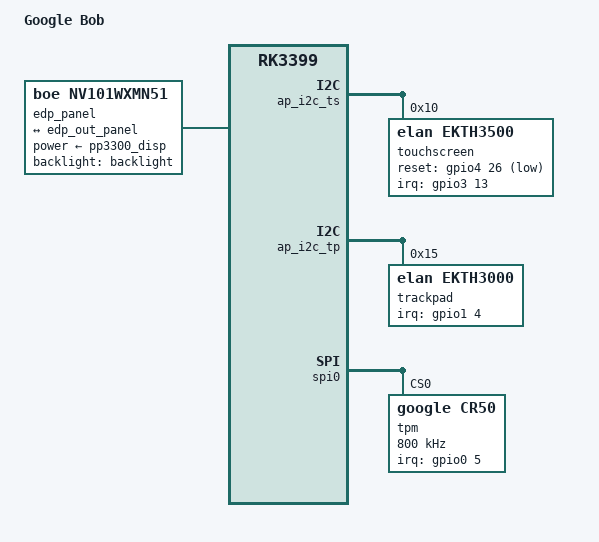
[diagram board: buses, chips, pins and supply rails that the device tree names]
// SPDX-License-Identifier: (GPL-2.0+ OR MIT)
/*
 * Google Gru-Bob Rev 4+ board device tree source
 *
 * Copyright 2018 Google, Inc
 */

/dts-v1/;
#include "rk3399-gru-chromebook.dtsi"

/ {
	model = "Google Bob";
	compatible = "google,bob-rev13", "google,bob-rev12",
		     "google,bob-rev11", "google,bob-rev10",
		     "google,bob-rev9", "google,bob-rev8",
		     "google,bob-rev7", "google,bob-rev6",
		     "google,bob-rev5", "google,bob-rev4",
		     "google,bob", "google,gru", "rockchip,rk3399";
	chassis-type = "convertible";

	edp_panel: edp-panel {
		compatible = "boe,nv101wxmn51";
		backlight = <&backlight>;
		power-supply = <&pp3300_disp>;

		port {
			panel_in_edp: endpoint {
				remote-endpoint = <&edp_out_panel>;
			};
		};
	};
};

&ap_i2c_ts {
	touchscreen: touchscreen@10 {
		compatible = "elan,ekth3500";
		reg = <0x10>;
		interrupt-parent = <&gpio3>;
		interrupts = <13 IRQ_TYPE_LEVEL_LOW>;
		pinctrl-names = "default";
		pinctrl-0 = <&touch_int_l &touch_reset_l>;
		reset-gpios = <&gpio4 26 GPIO_ACTIVE_LOW>;
	};
};

&ap_i2c_tp {
	trackpad: trackpad@15 {
		compatible = "elan,ekth3000";
		reg = <0x15>;
		interrupt-parent = <&gpio1>;
		interrupts = <4 IRQ_TYPE_LEVEL_LOW>;
		pinctrl-names = "default";
		pinctrl-0 = <&trackpad_int_l>;
		wakeup-source;
	};
};

&backlight {
	pwms = <&cros_ec_pwm 0>;
};

&cpu_alert0 {
	temperature = <65000>;
};

&cpu_alert1 {
	temperature = <70000>;
};

&spi0 {
	status = "okay";

	tpm@0 {
		compatible = "google,cr50";
		reg = <0>;
		interrupt-parent = <&gpio0>;
		interrupts = <5 IRQ_TYPE_EDGE_RISING>;
		pinctrl-names = "default";
		pinctrl-0 = <&h1_int_od_l>;
		spi-max-frequency = <800000>;
	};
};

&pinctrl {
	tpm {
		h1_int_od_l: h1-int-od-l {
			rockchip,pins = <0 RK_PA5 RK_FUNC_GPIO &pcfg_pull_up>;
		};
	};
};

&wlan_host_wake_l {
	/* Kevin has an external pull up, but Bob does not. */
	rockchip,pins = <0 RK_PB0 RK_FUNC_GPIO &pcfg_pull_up>;
};
